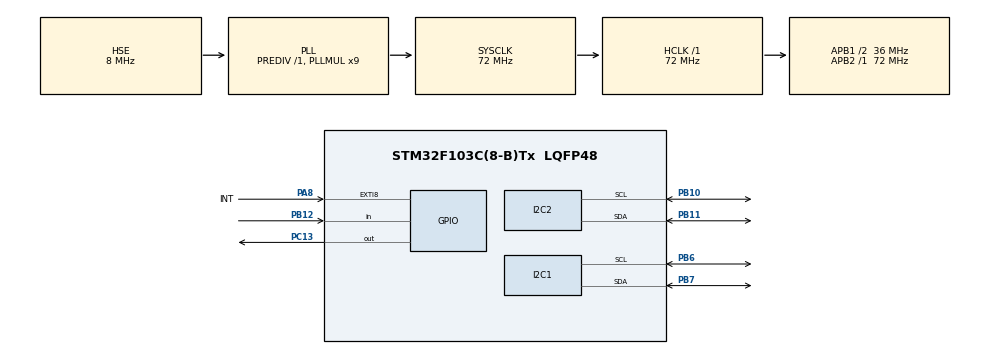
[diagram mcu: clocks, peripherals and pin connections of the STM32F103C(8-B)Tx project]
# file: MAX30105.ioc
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I2C1.I2C_Mode=I2C_Fast
I2C2.I2C_Mode=I2C_Fast
Mcu.Family=STM32F1
Mcu.Name=STM32F103C(8-B)Tx
Mcu.Package=LQFP48
NVIC.PriorityGroup=NVIC_PRIORITYGROUP_4
PA13.Mode=Serial_Wire
PA13.Signal=SYS_JTMS-SWDIO
PA14.Mode=Serial_Wire
PA14.Signal=SYS_JTCK-SWCLK
PA8.GPIO_Label=INT
PA8.GPIO_ModeDefaultEXTI=GPIO_MODE_IT_FALLING
PA8.GPIO_PuPd=GPIO_PULLUP
PA8.Signal=GPXTI8
PB10.Mode=I2C
PB10.Signal=I2C2_SCL
PB11.Mode=I2C
PB11.Signal=I2C2_SDA
PB12.Signal=GPIO_Input
PB6.Mode=I2C
PB6.Signal=I2C1_SCL
PB7.Mode=I2C
PB7.Signal=I2C1_SDA
PC13-TAMPER-RTC.Signal=GPIO_Output
PD0-OSC_IN.Mode=HSE-External-Oscillator
PD0-OSC_IN.Signal=RCC_OSC_IN
PD1-OSC_OUT.Mode=HSE-External-Oscillator
PD1-OSC_OUT.Signal=RCC_OSC_OUT
ProjectManager.HeapSize=0x200
ProjectManager.StackSize=0x400
ProjectManager.TargetToolchain=STM32CubeIDE
RCC.AHBFreq_Value=72000000
RCC.APB1CLKDivider=RCC_HCLK_DIV2
RCC.APB1Freq_Value=36000000
RCC.APB1TimFreq_Value=72000000
RCC.APB2Freq_Value=72000000
RCC.APB2TimFreq_Value=72000000
RCC.HCLKFreq_Value=72000000
RCC.PLLMUL=RCC_PLL_MUL9
RCC.PLLSourceVirtual=RCC_PLLSOURCE_HSE
RCC.SYSCLKFreq_VALUE=72000000
RCC.SYSCLKSource=RCC_SYSCLKSOURCE_PLLCLK
RCC.USBFreq_Value=72000000
board=custom

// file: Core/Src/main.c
/* USER CODE BEGIN Header */
/**
  ******************************************************************************
  * @file           : main.c
  * @brief          : Main program body
  ******************************************************************************
  * @attention
  *
  * Copyright (c) 2026 STMicroelectronics.
  * All rights reserved.
  *
  * This software is licensed under terms that can be found in the LICENSE file
  * in the root directory of this software component.
  * If no LICENSE file comes with this software, it is provided AS-IS.
  *
  ******************************************************************************
  */
/* USER CODE END Header */
#include "main.h"
#include "i2c.h"
#include "gpio.h"

/* USER CODE BEGIN Includes */
#include "main.h"
#include "fonts.h"
#include "ssd1306.h"
#include "stdio.h"
#include "MAX30102/MAX30102.h"
#include "MAX30102/algorithm.h"

/* USER CODE END Includes */

/* USER CODE BEGIN PD */
#define LED_PORT GPIOC
#define LED_PIN  GPIO_PIN_13

/* USER CODE END PD */

void SystemClock_Config(void);

/* USER CODE BEGIN 0 */
uint32_t ir[100];
uint32_t red[100];

float spo2;
float ratio;
float correl;

int32_t hr;

int8_t spo2_ok;
int8_t hr_ok;

static void MAX30102_PollFill(uint32_t *ir_buf, uint32_t *red_buf, uint16_t n)
{
    for (uint16_t i = 0; i < n; i++)
    {
    	Max30102_ReadFifo(&red_buf[i], &ir_buf[i]);
        HAL_Delay(10);
    }
}

/* USER CODE END 0 */

int main(void)
{

  /* MCU Configuration--------------------------------------------------------*/

  /* Reset of all peripherals, Initializes the Flash interface and the Systick. */
  HAL_Init();

  /* Configure the system clock */
  SystemClock_Config();

  /* Initialize all configured peripherals */
  MX_GPIO_Init();
  MX_I2C1_Init();
  MX_I2C2_Init();
  /* USER CODE BEGIN 2 */
  SSD1306_Init();
  Max30102_Init(&hi2c2);

  SSD1306_GotoXY (0,0);
  SSD1306_Puts ("Mcroprocessor", &Font_7x10, 1);
  SSD1306_GotoXY (0, 30);
  SSD1306_Puts ("MX30102", &Font_7x10, 1);
  SSD1306_UpdateScreen();
  HAL_Delay (1000);
  /* USER CODE END 2 */

  /* Infinite loop */
  /* USER CODE BEGIN WHILE */
  while (1)
  {
      uint32_t ir0, red0;
      char s[22];

      Max30102_ReadFifo(&red0, &ir0);

      SSD1306_Clear();
      SSD1306_GotoXY(0,0);
      SSD1306_Puts("RAW", &Font_11x18, 1);

      SSD1306_GotoXY(0, 25);
      sprintf(s, "IR:%lu", ir0);
      SSD1306_Puts(s, &Font_7x10, 1);

      SSD1306_GotoXY(0, 40);
      sprintf(s, "RED:%lu", red0);
      SSD1306_Puts(s, &Font_7x10, 1);

      SSD1306_UpdateScreen();
      HAL_Delay(100);
  }

  /* USER CODE END 3 */
}

void SystemClock_Config(void)
{
  RCC_OscInitTypeDef RCC_OscInitStruct = {0};
  RCC_ClkInitTypeDef RCC_ClkInitStruct = {0};

  /** Initializes the RCC Oscillators according to the specified parameters
  * in the RCC_OscInitTypeDef structure.
  */
  RCC_OscInitStruct.OscillatorType = RCC_OSCILLATORTYPE_HSE;
  RCC_OscInitStruct.HSEState = RCC_HSE_ON;
  RCC_OscInitStruct.HSEPredivValue = RCC_HSE_PREDIV_DIV1;
  RCC_OscInitStruct.HSIState = RCC_HSI_ON;
  RCC_OscInitStruct.PLL.PLLState = RCC_PLL_ON;
  RCC_OscInitStruct.PLL.PLLSource = RCC_PLLSOURCE_HSE;
  RCC_OscInitStruct.PLL.PLLMUL = RCC_PLL_MUL9;
  if (HAL_RCC_OscConfig(&RCC_OscInitStruct) != HAL_OK)
  {
    Error_Handler();
  }

  /** Initializes the CPU, AHB and APB buses clocks
  */
  RCC_ClkInitStruct.ClockType = RCC_CLOCKTYPE_HCLK|RCC_CLOCKTYPE_SYSCLK
                              |RCC_CLOCKTYPE_PCLK1|RCC_CLOCKTYPE_PCLK2;
  RCC_ClkInitStruct.SYSCLKSource = RCC_SYSCLKSOURCE_PLLCLK;
  RCC_ClkInitStruct.AHBCLKDivider = RCC_SYSCLK_DIV1;
  RCC_ClkInitStruct.APB1CLKDivider = RCC_HCLK_DIV2;
  RCC_ClkInitStruct.APB2CLKDivider = RCC_HCLK_DIV1;

  if (HAL_RCC_ClockConfig(&RCC_ClkInitStruct, FLASH_LATENCY_2) != HAL_OK)
  {
    Error_Handler();
  }
}

void Error_Handler(void)
{
  __disable_irq();
  while (1)
  {
  }
}
